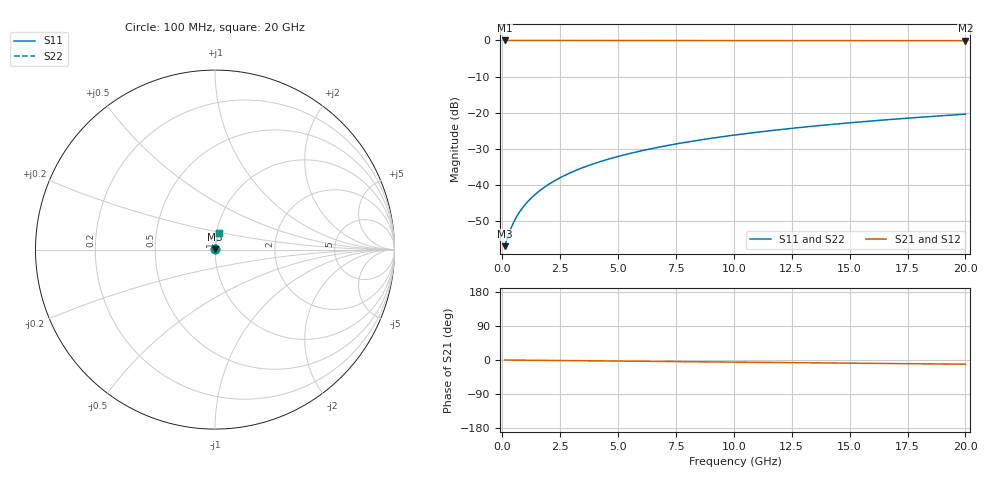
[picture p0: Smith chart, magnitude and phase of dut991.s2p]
! Touchstone file exported from HFSS 2026.1.0
!  File:  C:/ffzhzh/LocalFiles/Ansys_Project_Files/temp_train_BSMRDL_991_1783172918_43440.aedt
!  Generated:  09:49:50 PM Jul  4, 2026
!  Design:  BSMRDL
!  Project:  temp_train_BSMRDL_991_1783172918_43440
! Variables:
!  h_bsmrdl = 2.52um
!  h_ox = 20um
!  h_rdl = 5um
!  h_sub = 80um
!  h_tmrdl = 5um
!  h_tsv = 80um
!  h_via = 3um
!  l_bsmrdl = 144.01um
!  l_sub = 544.01um
!  l_tmrdl = 200um
!  m_sub = 200um
!  pitch = 35.31um
!  r_tsv = 6um
!  s_tmrdl = 10um
!  w_bsmrdl = 20.76um
!  w_sub = 500um
!  w_tmrdl = 12um
!  x_tsv_center1 = 206um
!  x_tsv_center2 = 370.77um
!  x_tsv_center3 = 582.77um
!  x_tsv_center4 = 747.54um
!  x_tsv_center5 = 959.54um
!  x_tsv_center6 = 1124.31um
# GHz S MA R 50.000000
! Terminal data exported
! Port[1] = BSM_RDL1_1_T1
! Port[2] = BSM_RDL1_1_T2
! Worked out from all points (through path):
!   200 points, 100 MHz to 20 GHz, reference 50 ohm
!   highest |S21| = -0.01 dB at 100 MHz (marker M1); lowest = -0.1 dB at 20 GHz (marker M2)
!   group delay of S21, straight-line fit = 1.53 ps
!   lowest |S11| = -56.9 dB at 100 MHz (marker M3), VSWR 1.00, Z = 50.1 + j0.0573 ohm
!   |S11| at or under -10 dB: start of sweep to end of sweep
!   |S22| runs from -56.9 to -20.4 dB; largest |S21 - S12| = 2e-15
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0.1  0.001425 23.7  0.9987 -0.1  0.9987 -0.1  0.001425 23.7
! Gamma 0 0 0 0
! Port Impedance 50 0 50 0
0.3  0.002178 50.2  0.9986 -0.2  0.9986 -0.2  0.002178 50.2
0.4  0.002632 56.6  0.9986 -0.2  0.9986 -0.2  0.002632 56.6
0.5  0.003095 60.9  0.9985 -0.3  0.9985 -0.3  0.003095 60.9
0.6  0.00356 64.1  0.9985 -0.4  0.9985 -0.4  0.00356 64.1
0.7  0.004025 66.6  0.9984 -0.4  0.9984 -0.4  0.004025 66.6
0.9  0.004957 70.3  0.9984 -0.5  0.9984 -0.5  0.004957 70.3
1.2  0.006367 73.9  0.9983 -0.7  0.9983 -0.7  0.006367 73.9
1.4  0.007315 75.6  0.9983 -0.8  0.9983 -0.8  0.007315 75.6
1.7  0.00875 77.5  0.9982 -1.0  0.9982 -1.0  0.00875 77.5
2.2  0.01116 79.5  0.9981 -1.2  0.9981 -1.2  0.01116 79.5
2.8  0.01408 80.9  0.9981 -1.6  0.9981 -1.6  0.01408 80.9
3.5  0.0175 81.8  0.9979 -2.0  0.9979 -2.0  0.0175 81.8
4.2  0.02091 82.2  0.9978 -2.4  0.9978 -2.4  0.02091 82.2
5  0.02482 82.4  0.9976 -2.8  0.9976 -2.8  0.02482 82.4
5.9  0.0292 82.4  0.9974 -3.3  0.9974 -3.3  0.0292 82.4
6.8  0.03356 82.3  0.9971 -3.8  0.9971 -3.8  0.03356 82.3
8.3  0.0408 81.8  0.9966 -4.6  0.9966 -4.6  0.0408 81.8
10.1  0.04941 81.1  0.996 -5.6  0.996 -5.6  0.04941 81.1
13.4  0.065 79.6  0.9946 -7.4  0.9946 -7.4  0.065 79.6
16.7  0.08035 78.0  0.9929 -9.2  0.9929 -9.2  0.08035 78.0
20  0.09546 76.4  0.9911 -11.0  0.9911 -11.0  0.09546 76.4
